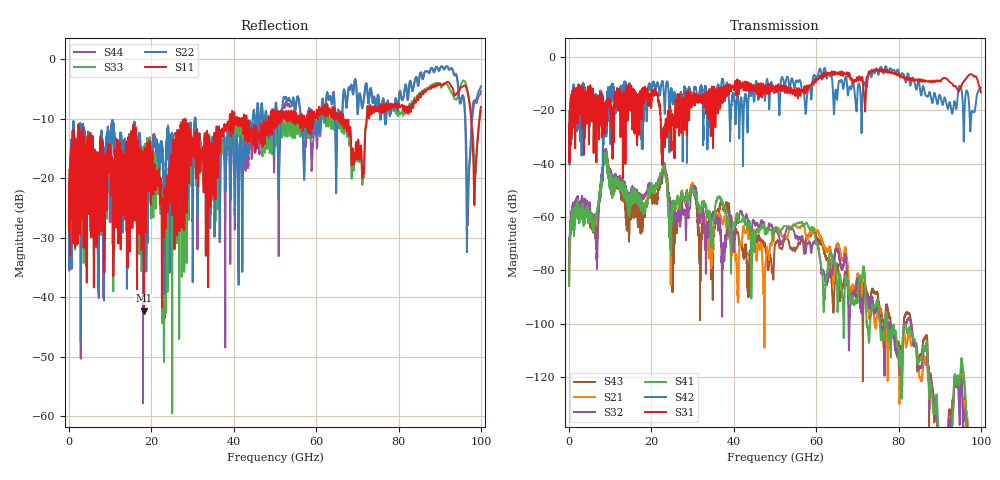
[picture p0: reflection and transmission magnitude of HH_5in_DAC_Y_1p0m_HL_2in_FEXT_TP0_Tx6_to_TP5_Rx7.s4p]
# GHz S RI R 45
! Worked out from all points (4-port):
!   4000 points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, 25 MHz to 100 GHz, reference 45 ohm
!   strongest paths, dB at 25 MHz, 25.02 GHz, 50.02 GHz, 75.03 GHz, 100 GHz:
!     S31: -39.3, -22.9, -12.6, -4.7, -13.3
!     S42: -38.8, -15.0, -12.9, -6.4, -11.5
!     S41: -85.8, -57.6, -64.1, -91.7, -174.5
!     S32: -83.5, -55.6, -64.8, -94.2, -181.9
!     S21: -85.8, -59.6, -64.0, -93.5, -177.6
!     S43: -81.9, -67.5, -70.2, -89.8, -177.0
!   lowest |S11| = -42.2 dB at 18.15 GHz (marker M1), VSWR 1.02, Z = 45.1 + j0.694 ohm
!   |S11| at or under -10 dB: start of sweep to 38.99 GHz; 43.13 GHz to 48.41 GHz (5.28 GHz wide, 11.5 % of centre); 66.6 GHz to 72.29 GHz (5.688 GHz wide, 8.19 % of centre)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
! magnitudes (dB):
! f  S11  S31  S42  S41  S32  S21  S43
! 25 MHz  -23.1  -39.3  -38.8  -85.8  -83.5  -85.8  -81.9
! 6.725 GHz  -30.9  -24.7  -17.1  -58.3  -73.5  -61.8  -65.0
! 8.725 GHz  -24.0  -24.6  -19.3  -36.2  -34.8  -35.6  -35.0
! 18.15 GHz  -42.2  -17.4  -22.0  -55.5  -53.2  -55.4  -57.7
! 22.85 GHz  -25.5  -29.2  -10.2  -41.4  -41.6  -41.0  -43.0
! 40.8 GHz  -9.8  -9.1  -15.1  -58.8  -61.3  -82.5  -66.0
! 100 GHz  -8.0  -13.3  -11.5  -174.5  -181.9  -177.6  -177.0
